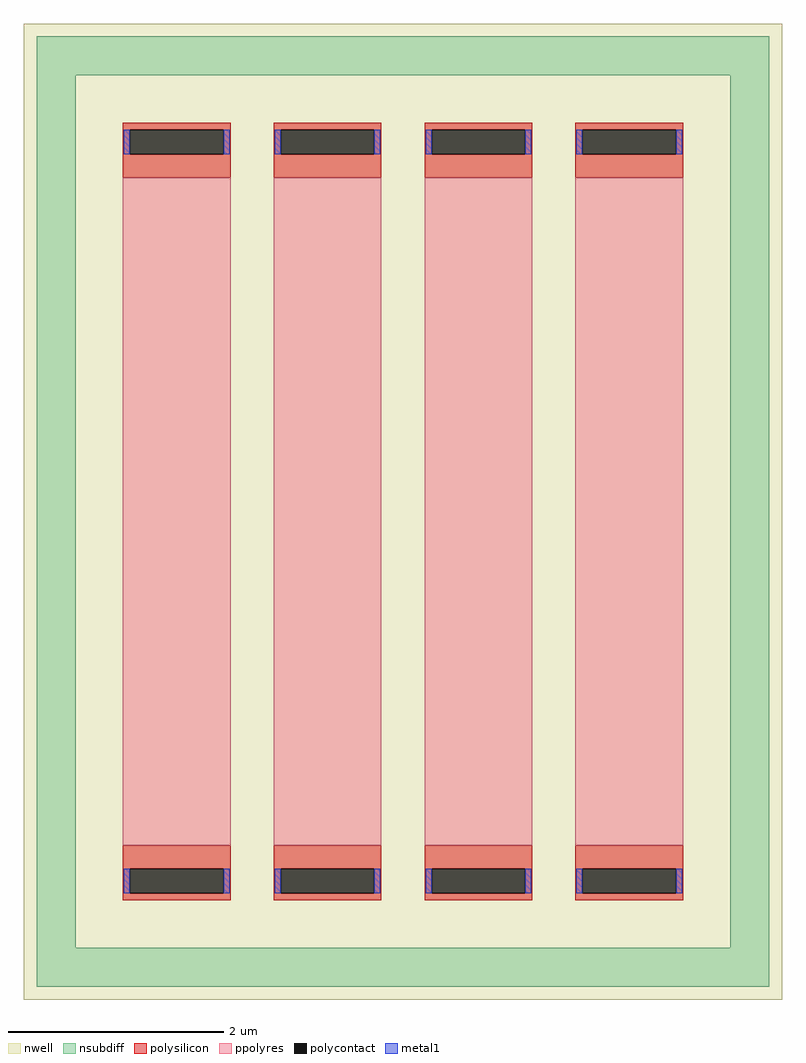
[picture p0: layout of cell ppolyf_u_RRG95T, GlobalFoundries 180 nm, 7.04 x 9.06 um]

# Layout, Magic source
magic
tech gf180mcuC
magscale 1 10
<< nwell >>
rect -704 -906 704 906
<< nsubdiff >>
rect -680 810 680 882
rect -680 -810 -608 810
rect 608 -810 680 810
rect -680 -882 680 -810
<< polysilicon >>
rect -520 709 -320 722
rect -520 663 -507 709
rect -333 663 -320 709
rect -520 620 -320 663
rect -520 -663 -320 -620
rect -520 -709 -507 -663
rect -333 -709 -320 -663
rect -520 -722 -320 -709
rect -240 709 -40 722
rect -240 663 -227 709
rect -53 663 -40 709
rect -240 620 -40 663
rect -240 -663 -40 -620
rect -240 -709 -227 -663
rect -53 -709 -40 -663
rect -240 -722 -40 -709
rect 40 709 240 722
rect 40 663 53 709
rect 227 663 240 709
rect 40 620 240 663
rect 40 -663 240 -620
rect 40 -709 53 -663
rect 227 -709 240 -663
rect 40 -722 240 -709
rect 320 709 520 722
rect 320 663 333 709
rect 507 663 520 709
rect 320 620 520 663
rect 320 -663 520 -620
rect 320 -709 333 -663
rect 507 -709 520 -663
rect 320 -722 520 -709
<< polycontact >>
rect -507 663 -333 709
rect -507 -709 -333 -663
rect -227 663 -53 709
rect -227 -709 -53 -663
rect 53 663 227 709
rect 53 -709 227 -663
rect 333 663 507 709
rect 333 -709 507 -663
<< ppolyres >>
rect -520 -620 -320 620
rect -240 -620 -40 620
rect 40 -620 240 620
rect 320 -620 520 620
<< metal1 >>
rect -518 663 -507 709
rect -333 663 -322 709
rect -238 663 -227 709
rect -53 663 -42 709
rect 42 663 53 709
rect 227 663 238 709
rect 322 663 333 709
rect 507 663 518 709
rect -518 -709 -507 -663
rect -333 -709 -322 -663
rect -238 -709 -227 -663
rect -53 -709 -42 -663
rect 42 -709 53 -663
rect 227 -709 238 -663
rect 322 -709 333 -663
rect 507 -709 518 -663
<< properties >>
string FIXED_BBOX -644 -846 644 846
string gencell ppolyf_u
string library gf180mcu
string parameters w 1.0 l 6.2 m 1 nx 4 wmin 0.80 lmin 1.00 rho 315 val 2.1k dummy 0 dw 0.07 term 0.0 sterm 0.0 caplen 0.4 snake 0 glc 0 grc 0 gtc 0 gbc 0 roverlap 0 endcov 100 full_metal 0
<< end >>
